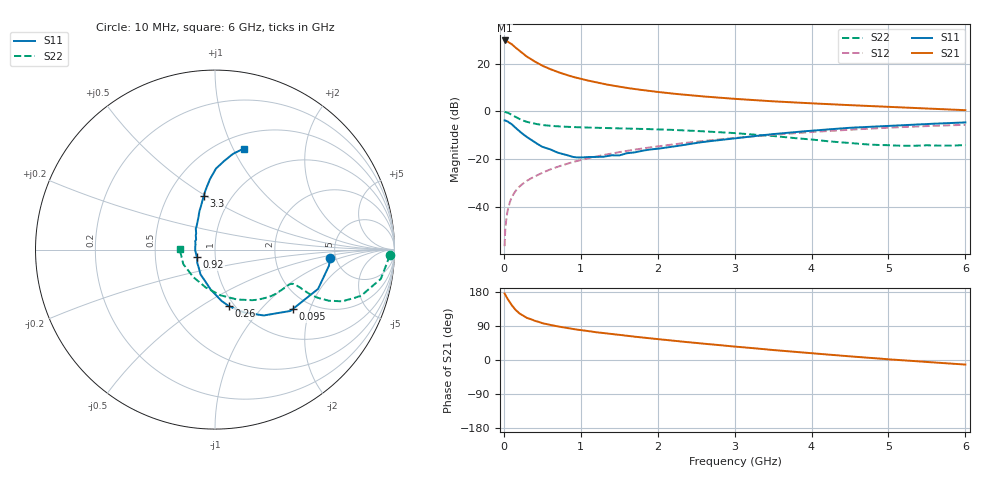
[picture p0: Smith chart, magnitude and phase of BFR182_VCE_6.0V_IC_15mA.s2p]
! Infineon Technologies  Discrete & RF Semiconductors
! BFR182
! VCE =  6.0 V,  IC =  15 mA
! Common Emitter S-Parameters:  Nov 2015
# GHz  S  MA  R  50
!  f  S11  S21  S12  S22
! GHz  MAG  ANG  MAG  ANG  MAG  ANG  MAG  ANG
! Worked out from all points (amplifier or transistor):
!   210 points, 10 MHz to 6 GHz, reference 50 ohm
!   highest |S21| = 29.7 dB at 10 MHz (marker M1)
!   |S21| within 3 dB of that: start of sweep to 153.3 MHz
!   unconditionally stable (mu >= 1): 694.2 MHz to 2.622 GHz
!   at 185 MHz: K = 0.61, MSG = 29.0 dB, |S12| = -32.1 dB
!   at 1.52 GHz: K = 1.04, MAG = 12.3 dB, |S12| = -17.0 dB
!   at 6 GHz: K = 0.89, MSG = 3.1 dB, |S12| = -5.7 dB
!   S11 on the Smith chart (normalised r, x): 10 MHz: 4.48, -0.70; 95 MHz: 1.64, -1.54; 260 MHz: 0.94, -0.66; 920 MHz: 0.81, -0.07; 3.3 GHz: 0.74, +0.49; 6 GHz: 0.64, +1.10
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0.01  0.6425 -4.1  30.41 175.5  0.0015 82.8  0.9728 -1.8
0.02  0.6412 -8.1  29.75 171.6  0.0035 86.7  0.9631 -4.1
0.05  0.6146 -20.9  28.86 160.9  0.0084 79.9  0.9383 -10.0
0.095  0.5459 -37.2  25.83 146.8  0.0149 76.3  0.861 -16.8
0.1  0.5413 -39.2  25.61 145.1  0.0156 76.1  0.8532 -17.6
0.15  0.4565 -53.5  21.74 132.4  0.0212 71.1  0.7663 -22.1
0.2  0.3866 -65.0  18.66 123.3  0.0262 69.9  0.6943 -24.2
0.26  0.3227 -76.4  15.6 115.5  0.0316 69.3  0.6315 -25.1
0.3  0.2892 -82.6  13.94 111.1  0.0351 69.1  0.6009 -25.3
0.4  0.2247 -96.0  11.04 103.6  0.0431 69.9  0.5497 -24.7
0.5  0.1805 -108.8  9.019 97.2  0.0513 70.9  0.5163 -24.0
0.6  0.1603 -120.2  7.675 92.6  0.0604 71.4  0.4965 -23.7
0.7  0.1364 -131.2  6.658 88.6  0.0689 71.6  0.4838 -23.7
0.92  0.1096 -156.7  5.15 81.1  0.0884 71.0  0.4664 -24.2
1.02  0.1082 -170.1  4.692 78.3  0.097 71.0  0.4602 -24.8
1.4  0.12 156.8  3.486 68.6  0.1304 68.9  0.4444 -28.4
2.02  0.1659 128.1  2.521 54.7  0.1862 64.1  0.4175 -36.4
3.1  0.2828 104.3  1.779 33.8  0.2854 53.5  0.3394 -55.9
3.3  0.3075 101.6  1.695 30.2  0.3037 51.3  0.3205 -60.7
4.1  0.404 93.1  1.442 16.2  0.3766 42.3  0.2465 -86.5
5.1  0.5038 83.2  1.224 0.5  0.461 30.2  0.1916 -133.6
6  0.5848 74.2  1.055 -12.1  0.5209 18.1  0.1967 179.5
